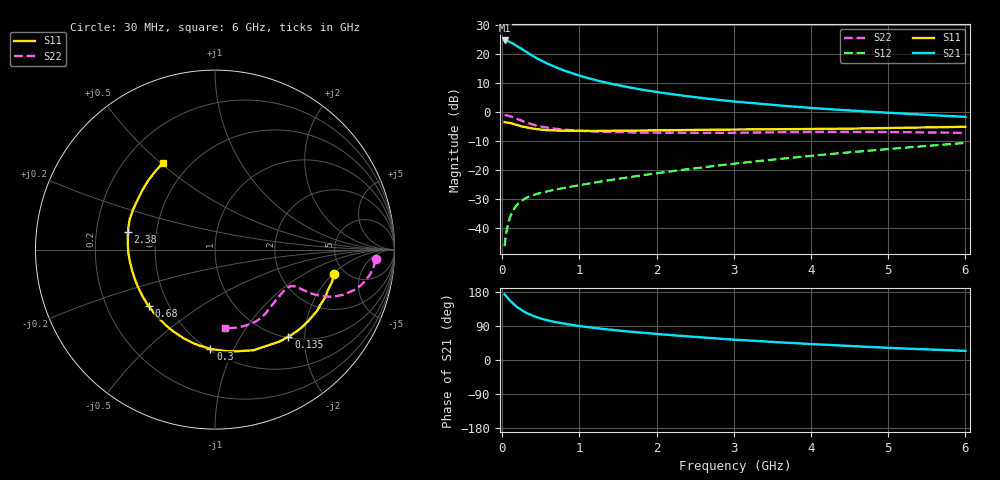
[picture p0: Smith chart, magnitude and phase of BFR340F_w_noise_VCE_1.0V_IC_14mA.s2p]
! Infineon Technologies  Discrete & RF Semiconductors
! BFR340F
! VCE =  1.0 V,  IC =  14 mA
! Common Emitter S-Parameters:  Nov 2015
# GHz  S  MA  R  50
!  f  S11  S21  S12  S22
! GHz  MAG  ANG  MAG  ANG  MAG  ANG  MAG  ANG
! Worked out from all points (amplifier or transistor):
!   206 points, 30 MHz to 6 GHz, reference 50 ohm
!   highest |S21| = 24.8 dB at 30 MHz (marker M1)
!   |S21| within 3 dB of that: start of sweep to 254.9 MHz
!   unconditionally stable (mu >= 1): 741.7 MHz to end of sweep
!   at 200 MHz: K = 0.42, MSG = 27.2 dB, |S12| = -31.7 dB
!   at 1.56 GHz: K = 1.37, MAG = 12.2 dB, |S12| = -22.7 dB
!   at 6 GHz: K = 1.09, MAG = 2.6 dB, |S12| = -10.6 dB
!   lowest NFmin = 1.79 dB at 450 MHz
!   S11 on the Smith chart (normalised r, x): 30 MHz: 4.09, -2.10; 135 MHz: 1.02, -1.66; 300 MHz: 0.51, -0.82; 680 MHz: 0.39, -0.32; 2.38 GHz: 0.34, +0.09; 6 GHz: 0.36, +0.51
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0.03  0.6783 -11.8  17.36 173.3  0.0049 78.3  0.8966 -3.5
0.05  0.6681 -19.4  17.08 167.9  0.0083 79.3  0.8891 -6.1
0.07  0.6631 -27.2  16.89 163.3  0.0112 75.2  0.8784 -8.5
0.1  0.6544 -37.9  16.21 156.9  0.0154 71.9  0.8554 -11.7
0.135  0.6343 -49.9  15.43 149.8  0.0197 67.3  0.8226 -15.0
0.15  0.6264 -54.7  15.01 146.9  0.0214 65.8  0.8076 -16.2
0.2  0.6001 -69.2  13.7 138.5  0.0261 60.9  0.7582 -19.4
0.24  0.5775 -79.2  12.65 132.9  0.0291 57.9  0.7215 -21.1
0.3  0.5539 -92.6  11.23 125.5  0.0328 54.8  0.6721 -22.9
0.36  0.5347 -103.4  10.02 119.7  0.0357 52.8  0.6327 -23.9
0.45  0.512 -116.7  8.528 112.6  0.0392 51.3  0.5871 -24.5
0.6  0.4914 -133.1  6.763 103.9  0.0438 51.2  0.5381 -24.6
0.68  0.485 -139.5  6.085 100.5  0.0461 51.8  0.521 -24.6
0.8  0.4802 -147.7  5.256 95.8  0.0496 53.2  0.5013 -24.6
1.04  0.4759 -159.7  4.144 88.6  0.0565 56.3  0.4771 -25.3
1.48  0.4797 -174.0  2.973 78.2  0.0705 61.8  0.4545 -28.1
2.02  0.488 174.7  2.22 68.4  0.0896 66.6  0.4444 -33.3
2.38  0.4946 168.6  1.906 62.6  0.1034 68.9  0.4419 -37.4
3.1  0.5048 158.8  1.496 52.6  0.134 71.6  0.4454 -46.2
4.1  0.5144 145.8  1.164 41.1  0.1826 72.7  0.4598 -57.0
5.1  0.5369 132.9  0.965 31.2  0.2382 71.4  0.4549 -69.6
6  0.5621 121.2  0.834 24.1  0.296 68.4  0.4411 -82.5
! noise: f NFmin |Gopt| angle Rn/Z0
0.45  1.79  0.09  -8  0.25
0.9  2.09  0.07  -2  0.32
1.9  3.08  0.16  -130  0.4
2.4  3.64  0.25  -138  0.37
